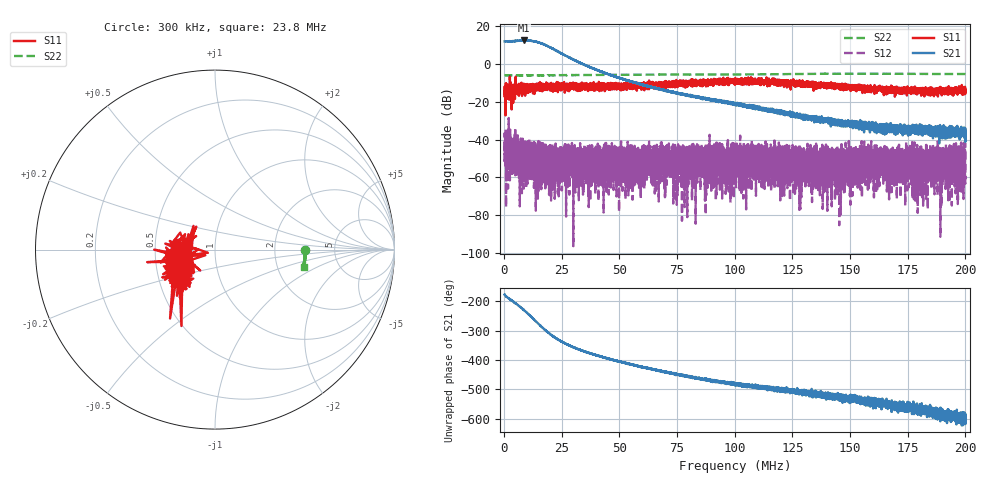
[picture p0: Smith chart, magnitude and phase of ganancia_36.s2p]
# Hz S DB R 50
! CMT, M5065, 19127446, 24.2.4/2
! Date: 11/8/2024 3:04:40 PM
! Data: Format (Calibration Info)
! Freq	S11:dB/Ang(F2)	S21:dB/Ang(F2)	S12:dB/Ang(F2)	S22:dB/Ang(F2)
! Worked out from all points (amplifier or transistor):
!   9000 points, 300 kHz to 200 MHz, reference 50 ohm
!   highest |S21| = 12.4 dB at 8.821 MHz (marker M1)
!   |S21| within 3 dB of that: start of sweep to 18.97 MHz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
!   unconditionally stable (mu >= 1): start of sweep to end of sweep
!   at 33.59 MHz: K = 221.67, MAG = 1.9 dB, |S12| = -56.4 dB
!   at 100.2 MHz: K = 521.95, MAG = -19.3 dB, |S12| = -43.2 dB
!   at 200 MHz: K = 20949.30, MAG = -35.0 dB, |S12| = -59.1 dB
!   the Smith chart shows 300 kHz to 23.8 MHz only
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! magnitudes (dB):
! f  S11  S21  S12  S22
! 300 kHz  -15.5  11.9  -51.7  -6.0
! 1.41 MHz  -11.8  11.9  -47.4  -6.0
! 8.821 MHz  -12.6  12.4  -48.3  -6.0
! 13.93 MHz  -10.6  11.8  -49.5  -5.9
! 16.77 MHz  -13.9  10.6  -40.8  -6.0
! 33.59 MHz  -11.8  0.3  -56.4  -5.9
! 50.03 MHz  -11.1  -7.4  -49.5  -5.8
! 59.51 MHz  -11.5  -10.8  -55.1  -5.7
! 62.48 MHz  -10.7  -11.9  -48.1  -5.7
! 66.87 MHz  -13.0  -13.2  -45.5  -5.7
! 68.47 MHz  -10.4  -13.6  -47.1  -5.7
! 74.15 MHz  -12.4  -15.0  -48.2  -5.6
! 84.69 MHz  -9.9  -17.3  -51.2  -5.6
! 87.91 MHz  -9.7  -18.3  -50.4  -5.6
! 100.2 MHz  -8.3  -21.4  -43.2  -5.5
! 133.4 MHz  -11.2  -28.0  -56.3  -5.3
! 166.7 MHz  -14.1  -33.8  -48.1  -5.2
! 181.4 MHz  -13.4  -36.2  -71.9  -5.3
! 187.8 MHz  -13.9  -35.2  -52.6  -5.3
! 193.2 MHz  -13.7  -36.9  -52.8  -5.3
! 198.6 MHz  -14.8  -34.3  -52.1  -5.4
! 200 MHz  -14.8  -36.6  -59.1  -5.4
